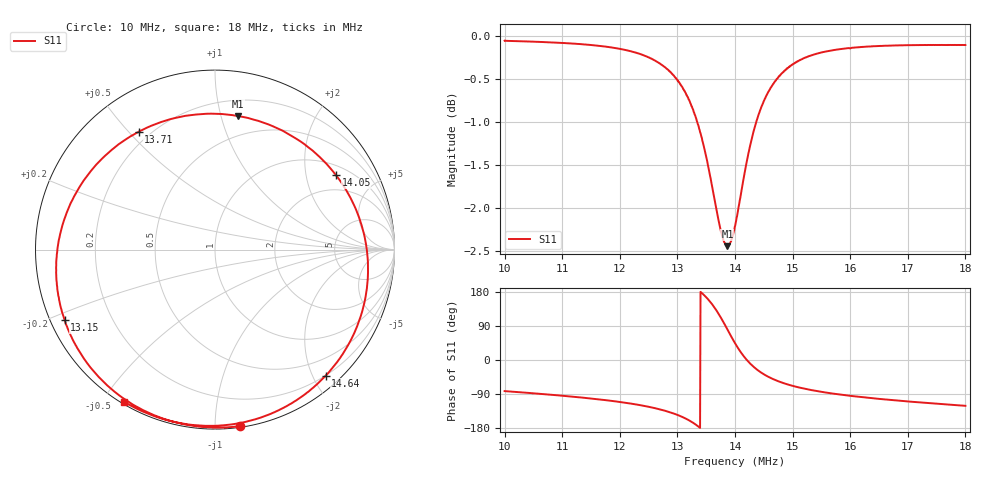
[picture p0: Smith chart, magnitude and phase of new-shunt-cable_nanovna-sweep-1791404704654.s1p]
! NanoVNA Web complex sweep
! Processing: unaveraged complex samples; linear segment spacing; no smoothing
# Hz S RI R 50
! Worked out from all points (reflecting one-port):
!   1010 points, 10 MHz to 18 MHz, reference 50 ohm
!   lowest |S11| = -2.4 dB at 13.87 MHz (marker M1), VSWR 7.16, Z = 16.4 + j56.6 ohm
!   phase of S11 starts at -82 deg and turns -399 deg over the sweep
!   S11 on the Smith chart (normalised r, x): 10 MHz: 0.01, -1.15; 13.15 MHz: 0.04, -0.22; 13.71 MHz: 0.16, +0.53; 14.05 MHz: 1.34, +2.98; 14.64 MHz: 0.20, -2.19; 18 MHz: 0.01, -0.57
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1e7  0.137 -0.984
1.100698e7  -0.0748 -0.9876
1.200604e7  -0.3499 -0.9182
1.233113e7  -0.4667 -0.8578
1.259278e7  -0.5757 -0.7784
1.28148e7  -0.6796 -0.6736
1.300509e7  -0.7726 -0.538
1.314781e7  -0.8381 -0.3934
1.333811e7  -0.8846 -0.1155
1.348083e7  -0.8392 0.1698
1.359977e7  -0.6922 0.437
1.371077e7  -0.4262 0.6562
1.379006e7  -0.165 0.7453
1.386935e7  0.1272 0.744
1.393278e7  0.3509 0.674
1.400414e7  0.5638 0.5332
1.405172e7  0.6734 0.4152
1.41548e7  0.817 0.135
1.42658e7  0.8518 -0.1461
1.435302e7  0.8242 -0.3293
1.444024e7  0.7703 -0.4766
1.463846e7  0.616 -0.7034
1.479704e7  0.4946 -0.8109
1.50032e7  0.3555 -0.8947
1.544722e7  0.1243 -0.969
1.600225e7  -0.0776 -0.9802
1.700131e7  -0.3275 -0.9316
1.800036e7  -0.5065 -0.848
